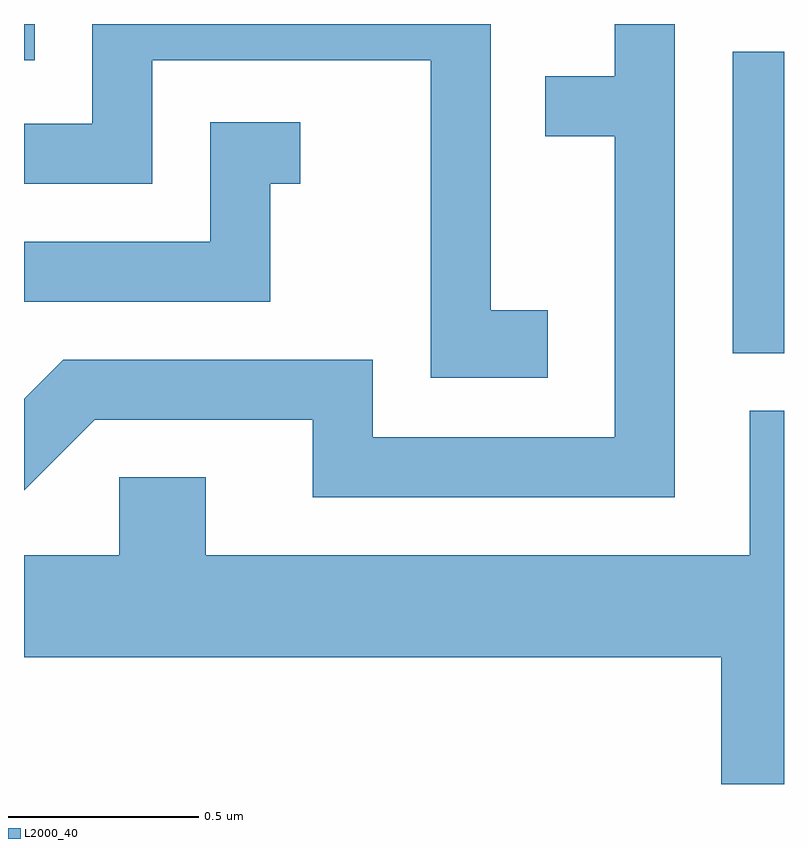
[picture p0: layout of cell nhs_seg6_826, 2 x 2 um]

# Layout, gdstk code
import gdstk
lib = gdstk.Library(unit=1e-6, precision=1e-09)
def R(c, l, rs):  # rectangles x0, y0, x1, y1
    for r in rs: c.add(gdstk.rectangle(r[:2], r[2:], *l))
def P(c, l, *ps):  # polygons
    for p in ps: c.add(gdstk.Polygon(p, *l))
L2000_40 = (2000, 40)

nhs_seg6_826 = lib.new_cell('nhs_seg6_826')
R(nhs_seg6_826, L2000_40, [(193.476,1535.296,193.611,1536.089), (191.611,1536.066,191.639,1536.162)])
P(nhs_seg6_826, L2000_40, [(192.989,1535.409),(192.839,1535.409),(192.839,1536.162),(191.791,1536.162),(191.791,1535.899),(191.611,1535.899),(191.611,1535.741),(191.949,1535.741),(191.949,1536.066),(192.681,1536.066),(192.681,1535.231),(192.989,1535.231)],
  [(193.324,1536.162),(193.166,1536.162),(193.166,1536.024),(192.983,1536.024),(192.983,1535.866),(193.166,1535.866),(193.166,1535.074),(192.529,1535.074),(192.529,1535.279),(191.714,1535.279),(191.611,1535.176),(191.611,1534.935),(191.797,1535.121),(192.371,1535.121),(192.371,1534.916),(193.324,1534.916)],
  [(192.259,1535.741),(192.338,1535.741),(192.338,1535.904),(192.101,1535.904),(192.101,1535.589),(191.611,1535.589),(191.611,1535.431),(192.259,1535.431)],
  [(193.611,1535.144),(193.521,1535.144),(193.521,1534.764),(192.089,1534.764),(192.089,1534.969),(191.861,1534.969),(191.861,1534.764),(191.611,1534.764),(191.611,1534.496),(193.446,1534.496),(193.446,1534.162),(193.611,1534.162)])

lib.write_gds('nhs_seg6_826.gds')
